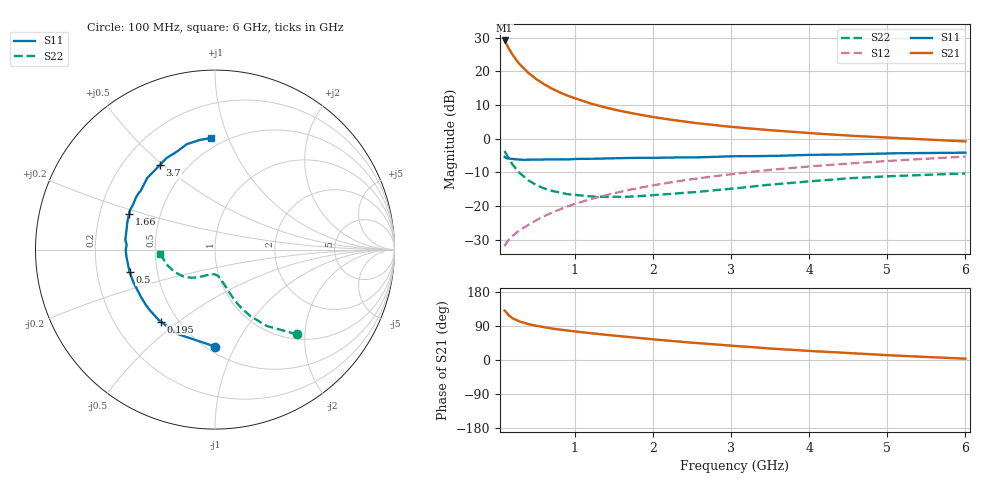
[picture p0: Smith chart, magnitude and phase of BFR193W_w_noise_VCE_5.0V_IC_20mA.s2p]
! Infineon Technologies  Discrete & RF Semiconductors
! BFR193W
! VCE =  5.0 V,  IC =  20 mA
! Common Emitter S-Parameters:  Nov 2015
# GHz  S  MA  R  50
!  f  S11  S21  S12  S22
! GHz  MAG  ANG  MAG  ANG  MAG  ANG  MAG  ANG
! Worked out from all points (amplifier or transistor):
!   192 points, 100 MHz to 6 GHz, reference 50 ohm
!   highest |S21| = 29.2 dB at 100 MHz (marker M1)
!   |S21| within 3 dB of that: start of sweep to 169.9 MHz
!   unconditionally stable (mu >= 1): 775.4 MHz to 2.584 GHz
!   at 440 MHz: K = 0.88, MSG = 22.0 dB, |S12| = -25.1 dB
!   at 1.7 GHz: K = 1.03, MAG = 10.4 dB, |S12| = -15.2 dB
!   at 6 GHz: K = 0.90, MSG = 2.3 dB, |S12| = -5.3 dB
!   lowest NFmin = 1.40 dB at 450 MHz
!   S11 on the Smith chart (normalised r, x): 100 MHz: 0.55, -0.84; 195 MHz: 0.40, -0.43; 500 MHz: 0.35, -0.11; 1.66 GHz: 0.33, +0.18; 3.7 GHz: 0.35, +0.49; 6 GHz: 0.43, +0.87
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0.1  0.5404 -89.9  28.89 130.4  0.0254 59.1  0.6582 -45.9
0.15  0.5142 -113.3  22.26 118.3  0.0315 55.5  0.5131 -55.9
0.195  0.5023 -126.9  18.25 111.4  0.0355 55.0  0.4268 -61.4
0.2  0.5028 -128.4  17.83 110.4  0.0359 55.0  0.4175 -62.1
0.24  0.4959 -137.0  15.35 106.3  0.0394 55.8  0.3627 -65.3
0.26  0.494 -140.7  14.29 104.4  0.041 56.3  0.3403 -66.7
0.3  0.4898 -146.7  12.54 100.9  0.044 57.4  0.3048 -68.7
0.4  0.4899 -158.0  9.595 94.8  0.0523 60.2  0.2431 -72.2
0.5  0.4918 -165.2  7.769 90.4  0.0611 62.4  0.2069 -74.5
0.6  0.4924 -171.1  6.523 86.7  0.0704 64.2  0.184 -77.2
0.7  0.4949 -175.5  5.598 83.3  0.0791 65.5  0.1691 -78.8
0.9  0.4927 176.8  4.396 77.8  0.0984 67.0  0.1508 -82.4
1.1  0.5028 170.9  3.665 73.1  0.1173 67.3  0.1427 -86.5
1.4  0.5107 163.4  2.897 66.4  0.1458 67.0  0.1372 -92.8
1.66  0.5182 157.6  2.491 61.1  0.1708 66.1  0.1376 -98.3
2.08  0.523 149.5  2.039 53.1  0.211 64.2  0.1475 -106.1
2.5  0.5275 141.8  1.738 45.6  0.2513 61.6  0.1599 -113.0
3.1  0.5501 132.0  1.469 36.4  0.3073 57.1  0.1859 -123.6
3.7  0.563 122.9  1.29 27.9  0.3624 52.2  0.2176 -135.2
4.1  0.5783 116.6  1.195 22.9  0.3962 48.8  0.2375 -142.9
5.1  0.6092 103.6  1.028 11.8  0.4759 40.6  0.2799 -162.9
6  0.6226 92.0  0.915 3.5  0.5437 32.9  0.3049 -175.1
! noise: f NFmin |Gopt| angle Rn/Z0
0.45  1.4  0.3  160  0.1
0.9  1.45  0.34  172  0.11
1.8  2.2  0.56  -148  0.2
